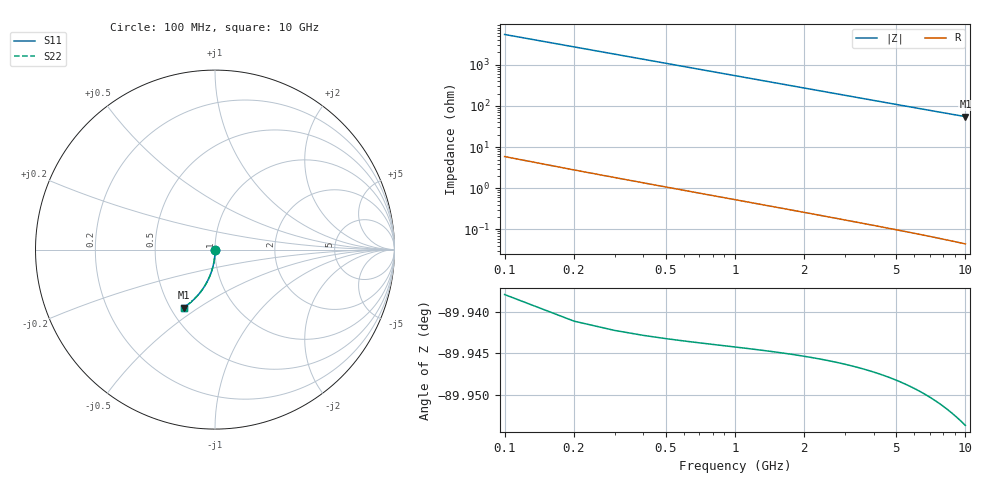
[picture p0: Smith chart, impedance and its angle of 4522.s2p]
# Hz S RI R 50.00
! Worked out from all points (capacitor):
!   100 points, 100 MHz to 10 GHz, reference 50 ohm
!   read as one part in shunt: C = 292 fF near 100 MHz
!   lowest |Z| = 55.1 ohm at 10 GHz (marker M1)
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1e8  0.000388 -0.004  0.9996 -0.00519  0.9996 -0.00519  0.000388 -0.004
2e8  0.000324 -0.008  0.9995 -0.0104  0.9995 -0.0104  0.000324 -0.008
3e8  0.000218 -0.012  0.9994 -0.0156  0.9994 -0.0156  0.000218 -0.012
4e8  6.98e-05 -0.016  0.9992 -0.0207  0.9992 -0.0207  6.98e-05 -0.016
5e8  -0.00012 -0.02  0.999 -0.0259  0.999 -0.0259  -0.00012 -0.02
6e8  -0.000351 -0.024  0.9988 -0.0311  0.9988 -0.0311  -0.000351 -0.024
7e8  -0.000623 -0.028  0.9985 -0.0363  0.9985 -0.0363  -0.000623 -0.028
8e8  -0.000937 -0.032  0.9982 -0.0414  0.9982 -0.0414  -0.000937 -0.032
9e8  -0.00129 -0.0359  0.9978 -0.0466  0.9978 -0.0466  -0.00129 -0.0359
1.1e9  -0.00213 -0.0439  0.9969 -0.0569  0.9969 -0.0569  -0.00213 -0.0439
1.4e9  -0.00368 -0.0558  0.9953 -0.0724  0.9953 -0.0724  -0.00368 -0.0558
1.8e9  -0.00633 -0.0715  0.9926 -0.0928  0.9926 -0.0928  -0.00633 -0.0715
2.1e9  -0.00874 -0.0832  0.9901 -0.1081  0.9901 -0.1081  -0.00874 -0.0832
2.5e9  -0.0125 -0.0986  0.9862 -0.1283  0.9862 -0.1283  -0.0125 -0.0986
2.9e9  -0.0169 -0.1138  0.9816 -0.1483  0.9816 -0.1483  -0.0169 -0.1138
3.4e9  -0.0232 -0.1325  0.9751 -0.1729  0.9751 -0.1729  -0.0232 -0.1325
4.2e9  -0.0352 -0.1615  0.9626 -0.2115  0.9626 -0.2115  -0.0352 -0.1615
5.1e9  -0.0513 -0.1926  0.9459 -0.2532  0.9459 -0.2532  -0.0513 -0.1926
5.9e9  -0.0677 -0.2185  0.9289 -0.2888  0.9289 -0.2888  -0.0677 -0.2185
6.7e9  -0.0859 -0.2428  0.91 -0.3227  0.91 -0.3227  -0.0859 -0.2428
8.4e9  -0.1294 -0.2882  0.8646 -0.3886  0.8646 -0.3886  -0.1294 -0.2882
1e10  -0.1748 -0.3229  0.8169 -0.4427  0.8169 -0.4427  -0.1748 -0.3229
